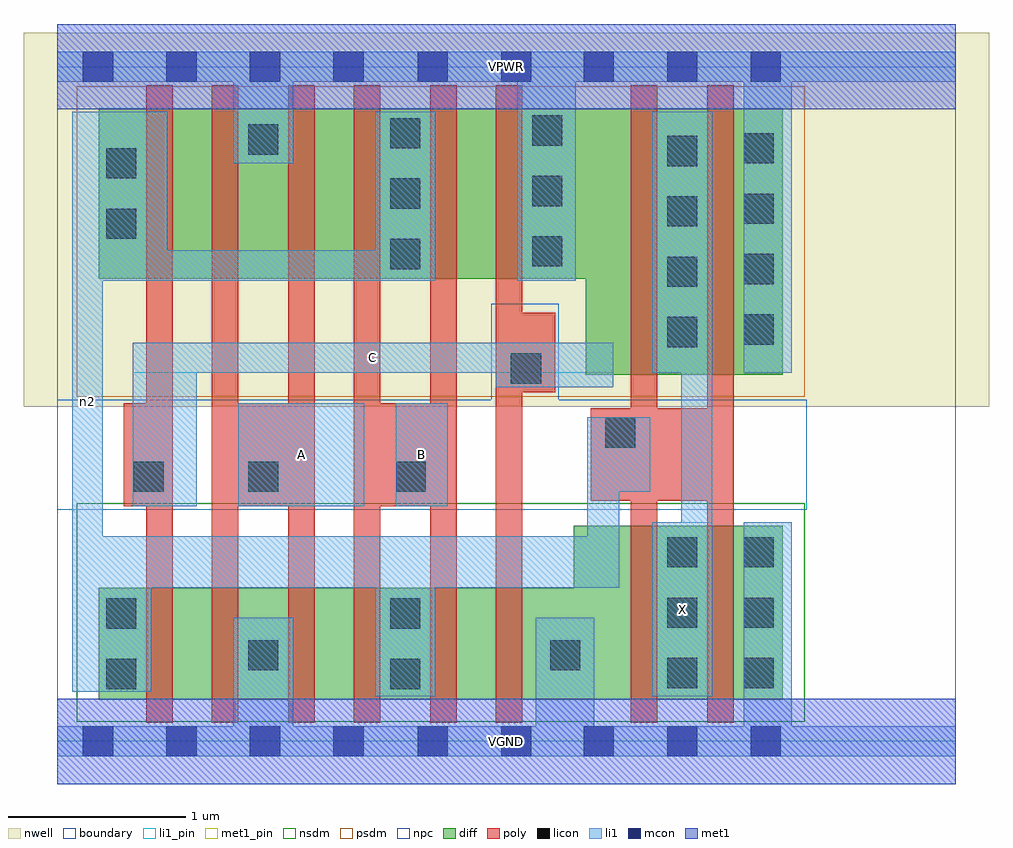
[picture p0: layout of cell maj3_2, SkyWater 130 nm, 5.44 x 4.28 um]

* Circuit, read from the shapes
.subckt maj3_2 A B C VGND VPWR X n2
XM1 n1 C n2 VSUBS sky130_fd_pr__nfet_01v8 w=0.63 l=0.15
XM2 VGND A n1 VSUBS sky130_fd_pr__nfet_01v8 w=0.63 l=0.15
XM3 n3 A VGND VSUBS sky130_fd_pr__nfet_01v8 w=0.63 l=0.15
XM4 n2 B n3 VSUBS sky130_fd_pr__nfet_01v8 w=0.63 l=0.15
XM5 n4 B n2 VSUBS sky130_fd_pr__nfet_01v8 w=0.63 l=0.15
XM6 VGND C n4 VSUBS sky130_fd_pr__nfet_01v8 w=0.63 l=0.15
XM7 X n2 VGND VSUBS sky130_fd_pr__nfet_01v8 w=0.98 l=0.15 m=2
XM8 n5 C n2 n6 sky130_fd_pr__pfet_01v8 w=0.96 l=0.15
XM9 VPWR A n5 n6 sky130_fd_pr__pfet_01v8 w=0.96 l=0.15
XM10 n7 A VPWR n6 sky130_fd_pr__pfet_01v8 w=0.96 l=0.15
XM11 n2 B n7 n6 sky130_fd_pr__pfet_01v8 w=0.96 l=0.15
XM12 n8 B n2 n6 sky130_fd_pr__pfet_01v8 w=0.96 l=0.15
XM13 VPWR C n8 n6 sky130_fd_pr__pfet_01v8 w=0.96 l=0.15
XM14 X n2 VPWR n6 sky130_fd_pr__pfet_01v8 w=1.5 l=0.15 m=2
.ends

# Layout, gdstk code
import gdstk
lib = gdstk.Library(unit=1e-6, precision=1e-09)
def R(c, l, rs):  # rectangles x0, y0, x1, y1
    for r in rs: c.add(gdstk.rectangle(r[:2], r[2:], *l))
def A(c, l, x, y, w, h, nx, ny, dx, dy):  # array of equal rectangles
    R(c, l, [(x+i*dx, y+j*dy, x+i*dx+w, y+j*dy+h) for i in range(nx) for j in range(ny)])
nwell = (64, 20)
diff = (65, 20)
poly = (66, 20)
licon = (66, 44)
li1_pin = (67, 16)
li1 = (67, 20)
mcon = (67, 44)
met1_pin = (68, 16)
met1 = (68, 20)
nsdm = (93, 44)
psdm = (94, 20)
npc = (95, 20)
boundary = (235, 4)

maj3_2 = lib.new_cell('maj3_2')
R(maj3_2, nwell, [(-0.19,1.885,5.25,3.99), (0,1.885,5.06,3.99)])
R(maj3_2, diff, [(0.235,0.235,4.085,0.865), (2.91,0.235,4.085,1.215), (2.975,2.065,4.085,3.565), (0.235,2.605,4.085,3.565)])
R(maj3_2, poly, [(0.5,0.105,0.65,3.695), (0.87,0.105,1.02,3.695), (1.3,0.105,1.45,3.695), (1.67,0.105,1.82,3.695), (2.1,0.105,2.25,3.695), (2.47,0.105,2.62,3.695), (3.23,0.105,3.38,3.695), (3.66,0.105,3.81,3.695), (0.375,1.325,0.65,1.905), (0.87,1.325,1.45,1.905), (1.67,1.325,2.25,1.905), (3.005,1.355,3.81,1.875), (2.47,1.965,2.805,2.415)])
A(maj3_2, licon, 3.435, 0.3, 0.17, 0.17, 1, 3, 0, 0.34)
A(maj3_2, licon, 3.865, 0.3, 0.17, 0.17, 1, 3, 0, 0.34)
A(maj3_2, licon, 3.435, 2.22, 0.17, 0.17, 1, 4, 0, 0.34)
A(maj3_2, licon, 3.865, 2.235, 0.17, 0.17, 1, 4, 0, 0.34)
A(maj3_2, licon, 1.875, 2.66, 0.17, 0.17, 1, 3, 0, 0.34)
A(maj3_2, licon, 2.675, 2.675, 0.17, 0.17, 1, 3, 0, 0.34)
R(maj3_2, licon, [(0.275,0.295,0.445,0.465), (1.875,0.295,2.045,0.465), (1.075,0.4,1.245,0.57), (2.775,0.4,2.945,0.57), (0.275,0.635,0.445,0.805), (1.875,0.635,2.045,0.805), (0.43,1.405,0.6,1.575), (1.075,1.405,1.245,1.575), (1.905,1.405,2.075,1.575), (3.085,1.655,3.255,1.825), (2.555,2.015,2.725,2.185), (0.275,2.83,0.445,3), (0.275,3.17,0.445,3.34), (1.075,3.305,1.245,3.475)])
R(maj3_2, li1_pin, [(3.35,0.255,3.69,1.235), (1.02,1.325,1.73,1.905), (1.905,1.325,2.2,1.905), (0.425,2.075,3.13,2.245)])
R(maj3_2, li1, [(0,-0.085,5.06,0.085), (0.99,-0.085,1.33,0.695), (2.695,-0.085,3.025,0.695), (3.865,-0.085,4.135,1.235), (1.79,0.255,2.13,1.155), (3.35,0.255,3.69,1.235), (3.515,0.255,3.69,3.545), (0.085,0.28,0.255,3.545), (0.085,0.28,0.53,1.155), (0.085,0.865,3.165,1.155), (2.985,0.865,3.165,1.825), (0.425,1.325,0.785,2.245), (1.02,1.325,1.73,1.905), (1.905,1.325,2.2,1.905), (2.985,1.405,3.34,1.825), (2.47,1.995,3.13,2.245), (0.425,2.075,3.13,2.245), (3.35,2.075,3.69,3.545), (3.865,2.075,4.135,3.885), (0.085,2.595,2.13,2.765), (0.085,2.595,0.62,3.545), (1.79,2.595,2.13,3.545), (2.59,2.595,2.92,3.885), (0.99,3.255,1.33,3.885), (0,3.715,5.06,3.885)])
A(maj3_2, mcon, 0.145, -0.085, 0.17, 0.17, 4, 2, 0.47, 3.8)
A(maj3_2, mcon, 2.965, -0.085, 0.17, 0.17, 3, 2, 0.47, 3.8)
R(maj3_2, mcon, [(2.03,-0.085,2.2,0.085), (2.5,-0.085,2.67,0.085), (2.03,3.715,2.2,3.885), (2.5,3.715,2.67,3.885)])
R(maj3_2, met1_pin, [(0,-0.24,5.06,0.24), (0,3.56,5.06,4.04)])
R(maj3_2, met1, [(0,-0.24,5.06,0.24), (0,3.56,5.06,4.04)])
R(maj3_2, nsdm, [(0.11,0.11,4.21,1.34)])
R(maj3_2, psdm, [(0.11,1.94,4.21,3.69)])
R(maj3_2, npc, [(0,1.305,4.22,1.925), (2.445,1.305,2.825,2.465)])
R(maj3_2, boundary, [(0,0,5.06,3.8)])
maj3_2.add(gdstk.Label('A', (1.375,1.615), layer=67, texttype=5))
maj3_2.add(gdstk.Label('B', (2.052,1.615), layer=67, texttype=5))
maj3_2.add(gdstk.Label('C', (1.777,2.16), layer=67, texttype=5))
maj3_2.add(gdstk.Label('X', (3.52,0.745), layer=67, texttype=5))
maj3_2.add(gdstk.Label('n2', (0.17,1.912), layer=67, texttype=5))
maj3_2.add(gdstk.Label('VPWR', (2.53,3.8), layer=68, texttype=5))
maj3_2.add(gdstk.Label('VGND', (2.53,0), layer=68, texttype=5))
maj3_2.add(gdstk.Label('A', (1.375,1.615), layer=67, texttype=16))
maj3_2.add(gdstk.Label('B', (2.052,1.615), layer=67, texttype=16))
maj3_2.add(gdstk.Label('C', (1.777,2.16), layer=67, texttype=16))
maj3_2.add(gdstk.Label('X', (3.52,0.745), layer=67, texttype=16))
maj3_2.add(gdstk.Label('VPWR', (2.53,3.8), layer=68, texttype=16))
maj3_2.add(gdstk.Label('VGND', (2.53,0), layer=68, texttype=16))

lib.write_gds('maj3_2.gds')
